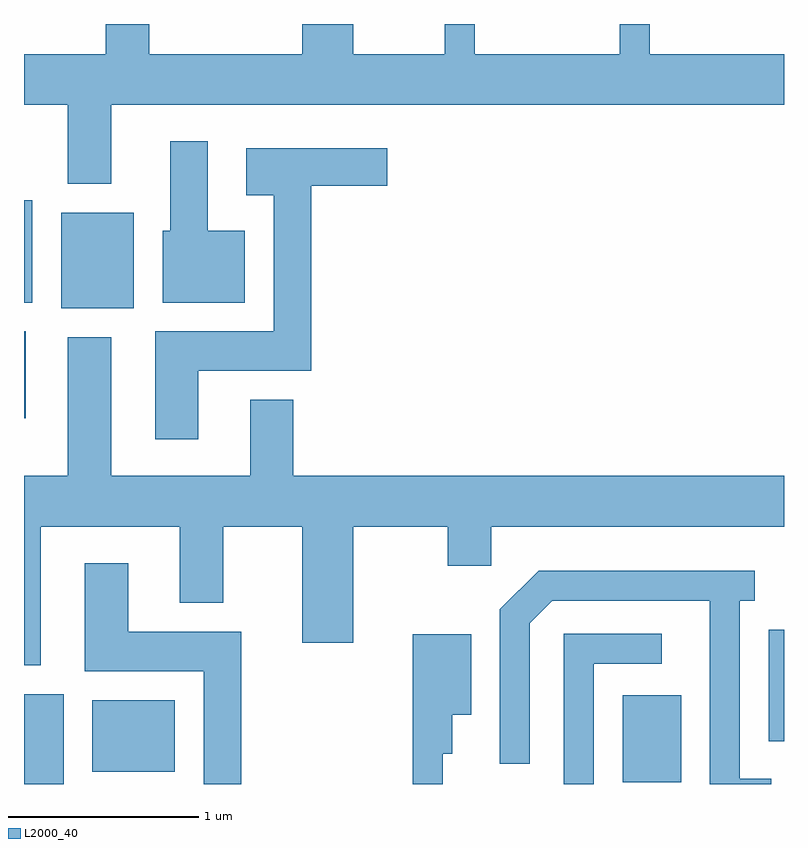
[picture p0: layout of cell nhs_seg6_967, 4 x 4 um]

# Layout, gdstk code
import gdstk
lib = gdstk.Library(unit=1e-6, precision=1e-09)
def R(c, l, rs):  # rectangles x0, y0, x1, y1
    for r in rs: c.add(gdstk.rectangle(r[:2], r[2:], *l))
def P(c, l, *ps):  # polygons
    for p in ps: c.add(gdstk.Polygon(p, *l))
L2000_40 = (2000, 40)

nhs_seg6_967 = lib.new_cell('nhs_seg6_967')
R(nhs_seg6_967, L2000_40, [(213.611,1624.162,213.819,1624.634), (216.761,1624.171,217.069,1624.629), (213.971,1624.226,214.404,1624.604), (217.531,1624.388,217.611,1624.974), (213.611,1626.086,213.619,1626.544), (213.806,1626.666,214.189,1627.169), (213.611,1626.696,213.654,1627.234)])
P(nhs_seg6_967, L2000_40, [(214.069,1627.736),(217.611,1627.736),(217.611,1628.004),(216.904,1628.004),(216.904,1628.162),(216.746,1628.162),(216.746,1628.004),(215.984,1628.004),(215.984,1628.162),(215.826,1628.162),(215.826,1628.004),(215.344,1628.004),(215.344,1628.162),(215.076,1628.162),(215.076,1628.004),(214.269,1628.004),(214.269,1628.162),(214.041,1628.162),(214.041,1628.004),(213.611,1628.004),(213.611,1627.736),(213.841,1627.736),(213.841,1627.321),(214.069,1627.321)],
  [(214.774,1627.074),(214.579,1627.074),(214.579,1627.544),(214.381,1627.544),(214.381,1627.074),(214.341,1627.074),(214.341,1626.696),(214.774,1626.696)],
  [(214.529,1626.336),(215.124,1626.336),(215.124,1627.311),(215.524,1627.311),(215.524,1627.509),(214.781,1627.509),(214.781,1627.261),(214.926,1627.261),(214.926,1626.544),(214.301,1626.544),(214.301,1625.976),(214.529,1625.976)],
  [(213.699,1625.516),(214.431,1625.516),(214.431,1625.116),(214.659,1625.116),(214.659,1625.516),(215.076,1625.516),(215.076,1624.906),(215.344,1624.906),(215.344,1625.516),(215.841,1625.516),(215.841,1625.311),(216.069,1625.311),(216.069,1625.516),(217.611,1625.516),(217.611,1625.784),(215.029,1625.784),(215.029,1626.184),(214.801,1626.184),(214.801,1625.784),(214.069,1625.784),(214.069,1626.514),(213.841,1626.514),(213.841,1625.784),(213.611,1625.784),(213.611,1624.786),(213.699,1624.786)],
  [(214.754,1624.964),(214.159,1624.964),(214.159,1625.324),(213.931,1625.324),(213.931,1624.756),(214.556,1624.756),(214.556,1624.162),(214.754,1624.162)],
  [(217.543,1624.189),(217.379,1624.189),(217.379,1625.126),(217.458,1625.126),(217.458,1625.284),(216.319,1625.284),(216.116,1625.082),(216.116,1624.268),(216.274,1624.268),(216.274,1625.009),(216.392,1625.126),(217.221,1625.126),(217.221,1624.162),(217.543,1624.162)],
  [(216.609,1624.796),(216.968,1624.796),(216.968,1624.954),(216.451,1624.954),(216.451,1624.162),(216.609,1624.162)],
  [(215.814,1624.321),(215.864,1624.321),(215.864,1624.526),(215.964,1624.526),(215.964,1624.949),(215.656,1624.949),(215.656,1624.162),(215.814,1624.162)])

lib.write_gds('nhs_seg6_967.gds')
